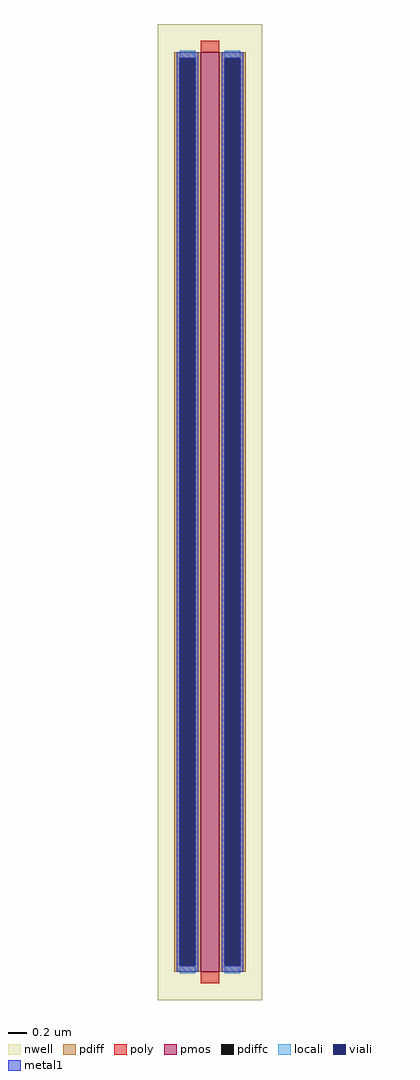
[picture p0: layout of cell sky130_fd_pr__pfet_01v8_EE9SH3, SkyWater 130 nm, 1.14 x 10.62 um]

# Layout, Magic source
magic
tech sky130A
<< nwell >>
rect -57 -531 57 531
<< pmos >>
rect -10 -500 10 500
<< pdiff >>
rect -39 494 -10 500
rect -39 -494 -33 494
rect -16 -494 -10 494
rect -39 -500 -10 -494
rect 10 494 39 500
rect 10 -494 16 494
rect 33 -494 39 494
rect 10 -500 39 -494
<< pdiffc >>
rect -33 -494 -16 494
rect 16 -494 33 494
<< poly >>
rect -10 500 10 513
rect -10 -513 10 -500
<< locali >>
rect -33 494 -16 502
rect -33 -502 -16 -494
rect 16 494 33 502
rect 16 -502 33 -494
<< viali >>
rect -33 -494 -16 494
rect 16 -494 33 494
<< metal1 >>
rect -36 494 -13 500
rect -36 -494 -33 494
rect -16 -494 -13 494
rect -36 -500 -13 -494
rect 13 494 36 500
rect 13 -494 16 494
rect 33 -494 36 494
rect 13 -500 36 -494
<< properties >>
string gencell sky130_fd_pr__pfet_01v8
string library sky130
string parameters w 10 l 0.2 m 1 nf 1 diffcov 100 polycov 100 guard 0 glc 1 grc 1 gtc 1 gbc 1 tbcov 100 rlcov 100 topc 0 botc 0 poverlap 0 doverlap 1 lmin 0.15 wmin 0.42 compatible {sky130_fd_pr__pfet_01v8  sky130_fd_pr__pfet_01v8_lvt sky130_fd_pr__pfet_01v8_hvt  sky130_fd_pr__pfet_g5v0d10v5} full_metal 1 viasrc 100 viadrn 100 viagate 100 viagb 0 viagr 0 viagl 0 viagt 0
<< end >>
